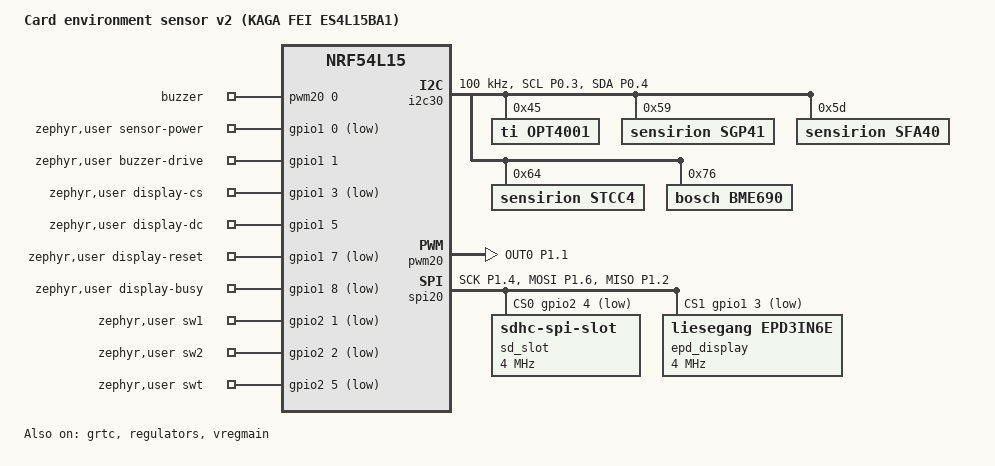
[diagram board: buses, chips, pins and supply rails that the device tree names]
/dts-v1/;

#include <nordic/nrf54l15_cpuapp.dtsi>
#include <zephyr/dt-bindings/gpio/gpio.h>
#include <zephyr/dt-bindings/i2c/i2c.h>
#include <zephyr/dt-bindings/pinctrl/nrf-pinctrl.h>
#include <zephyr/dt-bindings/regulator/nrf5x.h>
#include <zephyr/dt-bindings/pwm/pwm.h>

/ {
	model = "Card environment sensor v2 (KAGA FEI ES4L15BA1)";
	compatible = "liesegang,env-sensor-card";

	chosen {
		zephyr,sram = &cpuapp_sram;
		zephyr,flash = &cpuapp_rram;
		zephyr,flash-controller = &rram_controller;
		zephyr,code-partition = &code_partition;
		zephyr,settings-partition = &storage_partition;
	};

	aliases {
		i2c-sensors = &i2c30;
		buzzer = &buzzer;
	};

	buzzers {
		compatible = "pwm-leds";
		buzzer: buzzer {
			/* UGCT7525: 2700 Hz resonance, square wave at 50% duty. */
			pwms = <&pwm20 0 PWM_HZ(2700) PWM_POLARITY_NORMAL>;
		};
	};

	zephyr,user {
		/* P1.00 low turns on FET3 and supplies +V to BUZZ1. */
		sensor-power-gpios = <&gpio1 0 GPIO_ACTIVE_LOW>;
		/* Keep the active-high buzzer transistor off. */
		buzzer-drive-gpios = <&gpio1 1 GPIO_ACTIVE_HIGH>;
		/* Display shares SD SCK/MOSI and uses a separate chip select. */
		display-cs-gpios = <&gpio1 3 GPIO_ACTIVE_LOW>;
		display-dc-gpios = <&gpio1 5 GPIO_ACTIVE_HIGH>;
		display-reset-gpios = <&gpio1 7 GPIO_ACTIVE_LOW>;
		display-busy-gpios = <&gpio1 8 GPIO_ACTIVE_LOW>;
		/* S1 wheel: contacts 1, 2 and T close to grounded C1/C2. */
		sw1-gpios = <&gpio2 1 GPIO_ACTIVE_LOW>;
		sw2-gpios = <&gpio2 2 GPIO_ACTIVE_LOW>;
		swt-gpios = <&gpio2 5 GPIO_ACTIVE_LOW>;
	};
};

&cpuapp_rram {
	partitions {
		#address-cells = <1>;
		#size-cells = <1>;
		code_partition: partition@0 {
			compatible = "zephyr,mapped-partition";
			label = "card-app";
			reg = <0x0 0x174000>;
		};
		/* Same 36 KiB storage range as the SDK nRF54L15 layout. */
		storage_partition: partition@174000 {
			compatible = "zephyr,mapped-partition";
			label = "storage";
			reg = <0x174000 0x9000>;
		};
	};
};

&cpuapp_sram {
	status = "okay";
};

&clock {
	status = "okay";
};

&grtc {
	owned-channels = <0 1 2 3 4 5 6 7 8 9 10 11>;
	child-owned-channels = <3 4 7 8 9 10 11>;
	status = "okay";
};

&lfxo {
	status = "disabled";
};

/* Match the same ES4L15BA1 module used by the working Outdoor BLE board. */
&hfxo {
	load-capacitors = "internal";
	load-capacitance-femtofarad = <15000>;
};

&regulators {
	status = "okay";
};

&vregmain {
	status = "okay";
	regulator-initial-mode = <NRF5X_REG_MODE_DCDC>;
};

&gpio0 {
	status = "okay";
};

&gpio1 {
	status = "okay";
};

&gpio2 {
	status = "okay";
};

&gpiote20 {
	status = "okay";
};

&gpiote30 {
	status = "okay";
};

&pinctrl {
	buzzer_pwm_default: buzzer_pwm_default {
		group1 {
			psels = <NRF_PSEL(PWM_OUT0, 1, 1)>;
		};
	};

	buzzer_pwm_sleep: buzzer_pwm_sleep {
		group1 {
			psels = <NRF_PSEL(PWM_OUT0, 1, 1)>;
			low-power-enable;
		};
	};

	i2c30_default: i2c30_default {
		group1 {
			/* R12/R13 are 5.1-kohm pull-ups to switched +V. */
			psels = <NRF_PSEL(TWIM_SCL, 0, 3)>,
				<NRF_PSEL(TWIM_SDA, 0, 4)>;
		};
	};

	i2c30_sleep: i2c30_sleep {
		group1 {
			psels = <NRF_PSEL(TWIM_SCL, 0, 3)>,
				<NRF_PSEL(TWIM_SDA, 0, 4)>;
			low-power-enable;
		};
	};

	sd_spi_default: sd_spi_default {
		group1 {
			psels = <NRF_PSEL(SPIM_SCK, 1, 4)>,
				<NRF_PSEL(SPIM_MOSI, 1, 6)>,
				<NRF_PSEL(SPIM_MISO, 1, 2)>;
		};
	};

	sd_spi_sleep: sd_spi_sleep {
		group1 {
			psels = <NRF_PSEL(SPIM_SCK, 1, 4)>,
				<NRF_PSEL(SPIM_MOSI, 1, 6)>,
				<NRF_PSEL(SPIM_MISO, 1, 2)>;
			low-power-enable;
		};
	};
};

&i2c30 {
	status = "okay";
	clock-frequency = <I2C_BITRATE_STANDARD>;
	pinctrl-0 = <&i2c30_default>;
	pinctrl-1 = <&i2c30_sleep>;
	pinctrl-names = "default", "sleep";

	opt4001: light@45 {
		compatible = "ti,opt4001";
		reg = <0x45>;
	};

	sgp41: gas@59 {
		compatible = "sensirion,sgp41";
		reg = <0x59>;
	};

	sfa40: formaldehyde@5d {
		compatible = "sensirion,sfa40";
		reg = <0x5d>;
	};

	stcc4: co2@64 {
		compatible = "sensirion,stcc4";
		reg = <0x64>;
		measurement-mode = <0>;
	};

	bme690: environment@76 {
		compatible = "bosch,bme690";
		reg = <0x76>;
	};
};

&pwm20 {
	status = "okay";
	pinctrl-0 = <&buzzer_pwm_default>;
	pinctrl-1 = <&buzzer_pwm_sleep>;
	pinctrl-names = "default", "sleep";
};

&spi20 {
	status = "okay";
	pinctrl-0 = <&sd_spi_default>;
	pinctrl-1 = <&sd_spi_sleep>;
	pinctrl-names = "default", "sleep";
	cs-gpios = <&gpio2 4 GPIO_ACTIVE_LOW>, <&gpio1 3 GPIO_ACTIVE_LOW>;

	sd_slot: sd@0 {
		compatible = "zephyr,sdhc-spi-slot";
		reg = <0>;
		spi-max-frequency = <4000000>;

		sd_card: sd {
			compatible = "zephyr,sdmmc-disk";
			disk-name = "SD";
		};
	};

	epd_display: display@1 {
		compatible = "liesegang,epd3in6e";
		reg = <1>;
		spi-max-frequency = <4000000>;
	};
};

&uicr {
	/* P1.02 is SD MISO, P1.03 is display CS: release both NFC pads. */
	nfct-pins-as-gpios;
};
